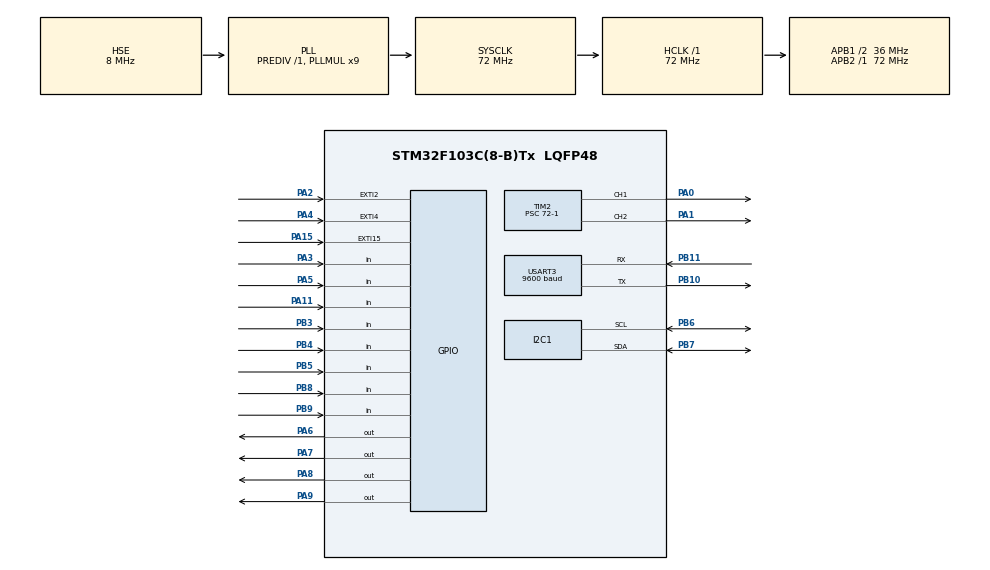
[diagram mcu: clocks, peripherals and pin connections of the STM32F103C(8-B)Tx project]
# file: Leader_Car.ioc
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Mcu.Family=STM32F1
Mcu.Name=STM32F103C(8-B)Tx
Mcu.Package=LQFP48
NVIC.EXTI15_10_IRQn=true\:0\:0\:true\:false\:true\:true\:true\:true
NVIC.EXTI2_IRQn=true\:0\:0\:false\:false\:true\:true\:true\:true
NVIC.EXTI4_IRQn=true\:0\:0\:false\:false\:true\:true\:true\:true
NVIC.PriorityGroup=NVIC_PRIORITYGROUP_4
NVIC.TIM2_IRQn=true\:0\:0\:false\:false\:true\:true\:true\:true
NVIC.TIM3_IRQn=true\:0\:0\:false\:false\:true\:true\:true\:true
NVIC.USART3_IRQn=true\:0\:0\:false\:false\:true\:true\:true\:true
PA0-WKUP.Signal=S_TIM2_CH1_ETR
PA1.Signal=S_TIM2_CH2
PA11.GPIO_PuPd=GPIO_PULLUP
PA11.Signal=GPIO_Input
PA13.Mode=Serial_Wire
PA13.Signal=SYS_JTMS-SWDIO
PA14.Mode=Serial_Wire
PA14.Signal=SYS_JTCK-SWCLK
PA15.GPIO_ModeDefaultEXTI=GPIO_MODE_IT_RISING
PA15.GPIO_PuPd=GPIO_PULLUP
PA15.Signal=GPXTI15
PA2.GPIO_ModeDefaultEXTI=GPIO_MODE_IT_FALLING
PA2.GPIO_PuPd=GPIO_PULLUP
PA2.Signal=GPXTI2
PA3.GPIO_PuPd=GPIO_PULLUP
PA3.Signal=GPIO_Input
PA4.GPIO_ModeDefaultEXTI=GPIO_MODE_IT_FALLING
PA4.GPIO_PuPd=GPIO_PULLUP
PA4.Signal=GPXTI4
PA5.GPIO_PuPd=GPIO_PULLUP
PA5.Signal=GPIO_Input
PA6.Signal=GPIO_Output
PA7.Signal=GPIO_Output
PA8.Signal=GPIO_Output
PA9.Signal=GPIO_Output
PB10.Mode=Asynchronous
PB10.Signal=USART3_TX
PB11.Mode=Asynchronous
PB11.Signal=USART3_RX
PB3.GPIO_PuPd=GPIO_PULLUP
PB3.Signal=GPIO_Input
PB4.GPIO_PuPd=GPIO_PULLUP
PB4.Signal=GPIO_Input
PB5.GPIO_PuPd=GPIO_PULLUP
PB5.Signal=GPIO_Input
PB6.Mode=I2C
PB6.Signal=I2C1_SCL
PB7.Mode=I2C
PB7.Signal=I2C1_SDA
PB8.GPIO_PuPd=GPIO_PULLUP
PB8.Signal=GPIO_Input
PB9.GPIO_PuPd=GPIO_PULLUP
PB9.Signal=GPIO_Input
PC14-OSC32_IN.Mode=LSE-External-Oscillator
PC14-OSC32_IN.Signal=RCC_OSC32_IN
PC15-OSC32_OUT.Mode=LSE-External-Oscillator
PC15-OSC32_OUT.Signal=RCC_OSC32_OUT
PD0-OSC_IN.Mode=HSE-External-Oscillator
PD0-OSC_IN.Signal=RCC_OSC_IN
PD1-OSC_OUT.Mode=HSE-External-Oscillator
PD1-OSC_OUT.Signal=RCC_OSC_OUT
ProjectManager.HeapSize=0x200
ProjectManager.StackSize=0x400
ProjectManager.TargetToolchain=MDK-ARM V5.32
RCC.AHBFreq_Value=72000000
RCC.APB1CLKDivider=RCC_HCLK_DIV2
RCC.APB1Freq_Value=36000000
RCC.APB1TimFreq_Value=72000000
RCC.APB2Freq_Value=72000000
RCC.APB2TimFreq_Value=72000000
RCC.HCLKFreq_Value=72000000
RCC.PLLMUL=RCC_PLL_MUL9
RCC.PLLSourceVirtual=RCC_PLLSOURCE_HSE
RCC.SYSCLKFreq_VALUE=72000000
RCC.SYSCLKSource=RCC_SYSCLKSOURCE_PLLCLK
RCC.USBFreq_Value=72000000
SH.S_TIM2_CH1_ETR.0=TIM2_CH1,PWM Generation1 CH1
SH.S_TIM2_CH2.0=TIM2_CH2,PWM Generation2 CH2
TIM2.AutoReloadPreload=TIM_AUTORELOAD_PRELOAD_ENABLE
TIM2.Channel-PWM\ Generation1\ CH1=TIM_CHANNEL_1
TIM2.Channel-PWM\ Generation2\ CH2=TIM_CHANNEL_2
TIM2.Period=20000-1
TIM2.Prescaler=72-1
TIM3.AutoReloadPreload=TIM_AUTORELOAD_PRELOAD_ENABLE
TIM3.Period=100-1
TIM3.Prescaler=7200-1
USART3.BaudRate=9600
USART3.VirtualMode=VM_ASYNC
VP_TIM2_VS_ClockSourceINT.Mode=Internal
VP_TIM3_VS_ClockSourceINT.Mode=Internal
board=custom

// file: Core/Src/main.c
/* USER CODE BEGIN Header */
/**
  ******************************************************************************
  * @file           : main.c
  * @brief          : Main program body
  ******************************************************************************
  * @attention
  *
  * Copyright (c) 2026 STMicroelectronics.
  * All rights reserved.
  *
  * This software is licensed under terms that can be found in the LICENSE file
  * in the root directory of this software component.
  * If no LICENSE file comes with this software, it is provided AS-IS.
  *
  ******************************************************************************
  */
/* USER CODE END Header */
#include "main.h"
#include "i2c.h"
#include "tim.h"
#include "usart.h"
#include "gpio.h"

/* USER CODE BEGIN Includes */
#include "motor.h"
#include "PID.h"
#include "OLED.h"
#include "stdio.h"
#include "usart3_debug.h"
#include <string.h>
#include <stdio.h>
#include "tcrt5000.h"
#include "MPU6050.h"
#include <math.h>
#include "filter.h"
/* USER CODE END Includes */

/* USER CODE BEGIN PTD */
void HAL_GPIO_EXTI_Callback(uint16_t GPIO_Pin);
/* USER CODE END PTD */

/* USER CODE BEGIN PD */

#define MG310_Min 0
#define MG310_Max 50000
#define Max_Duty 300 //  duty/Max_Duty = 占空比

/* USER CODE END PD */

/* USER CODE BEGIN PV */

uint32_t last_print = 0;
uint32_t last_wave_send = 0;
volatile uint8_t send_flag = 0;
static uint8_t div = 0;

uint8_t MPU6050_FLAG = 0;

/* USER CODE END PV */

void SystemClock_Config(void);

int main(void)
{

  /* MCU Configuration--------------------------------------------------------*/

  /* Reset of all peripherals, Initializes the Flash interface and the Systick. */
  HAL_Init();

  /* Configure the system clock */
  SystemClock_Config();

  /* Initialize all configured peripherals */
  MX_GPIO_Init();
  MX_TIM2_Init();
  MX_TIM3_Init();
  MX_USART3_UART_Init();
  MX_I2C1_Init();
  /* USER CODE BEGIN 2 */
	//电机启动
	HAL_TIM_PWM_Start(&htim2, TIM_CHANNEL_1);
	HAL_TIM_PWM_Start(&htim2, TIM_CHANNEL_2);
	//定时器启动，编码器测速
	HAL_TIM_Base_Start_IT(&htim3);

	PID_Init(&MotorA, DELTA_PID, 50.0f, 30.0f, 0.0f);
	PID_Init(&MotorB, DELTA_PID, 50.0f, 30.0f, 0.0f);
	PID_Init(&angle, POSITION_PID, 2.0f, 0.0f, 1.0f);
	OLED_Init();

	desired_angle = 10.0f;	//设定角度

  /* USER CODE END 2 */

  /* Infinite loop */
  /* USER CODE BEGIN WHILE */

  while (1)
  {
//	  TCRT_Init();//寻迹

	  if(Left_Turn_Flag == 0 && Right_Turn_Flag == 0)
	  {
		TCRT_Init();//寻迹
	  }
	  else
	  {
		MPU6050_Init();
		angle_count();
		HAL_Delay(1000);
		Left_Turn_Flag = 0;
		Right_Turn_Flag = 0;
	  }

	printf("1");

	 if(send_flag)
    {
        send_flag = 0;
//        datavision_send();

    }

	if(MPU6050_FLAG)
	{

	}

	HAL_Delay(10);
    /* USER CODE END WHILE */

  }
}

void SystemClock_Config(void)
{
  RCC_OscInitTypeDef RCC_OscInitStruct = {0};
  RCC_ClkInitTypeDef RCC_ClkInitStruct = {0};

  /** Initializes the RCC Oscillators according to the specified parameters
  * in the RCC_OscInitTypeDef structure.
  */
  RCC_OscInitStruct.OscillatorType = RCC_OSCILLATORTYPE_HSE;
  RCC_OscInitStruct.HSEState = RCC_HSE_ON;
  RCC_OscInitStruct.HSEPredivValue = RCC_HSE_PREDIV_DIV1;
  RCC_OscInitStruct.HSIState = RCC_HSI_ON;
  RCC_OscInitStruct.PLL.PLLState = RCC_PLL_ON;
  RCC_OscInitStruct.PLL.PLLSource = RCC_PLLSOURCE_HSE;
  RCC_OscInitStruct.PLL.PLLMUL = RCC_PLL_MUL9;
  if (HAL_RCC_OscConfig(&RCC_OscInitStruct) != HAL_OK)
  {
    Error_Handler();
  }

  /** Initializes the CPU, AHB and APB buses clocks
  */
  RCC_ClkInitStruct.ClockType = RCC_CLOCKTYPE_HCLK|RCC_CLOCKTYPE_SYSCLK
                              |RCC_CLOCKTYPE_PCLK1|RCC_CLOCKTYPE_PCLK2;
  RCC_ClkInitStruct.SYSCLKSource = RCC_SYSCLKSOURCE_PLLCLK;
  RCC_ClkInitStruct.AHBCLKDivider = RCC_SYSCLK_DIV1;
  RCC_ClkInitStruct.APB1CLKDivider = RCC_HCLK_DIV2;
  RCC_ClkInitStruct.APB2CLKDivider = RCC_HCLK_DIV1;

  if (HAL_RCC_ClockConfig(&RCC_ClkInitStruct, FLASH_LATENCY_2) != HAL_OK)
  {
    Error_Handler();
  }
}

/* USER CODE BEGIN 4 */
//编码器计数
void HAL_GPIO_EXTI_Callback(uint16_t GPIO_Pin)
{
    // 电机 A：A 相中断，B 相判方向
    if (GPIO_Pin == GPIO_PIN_2)
    {
        if (HAL_GPIO_ReadPin(GPIOA, GPIO_PIN_3) == GPIO_PIN_SET)
            Encoder_CountA--;
        else
            Encoder_CountA++;
    }

    // 电机 B：A 相中断，B 相判方向
    else if (GPIO_Pin == GPIO_PIN_4)
    {
        if (HAL_GPIO_ReadPin(GPIOA, GPIO_PIN_5) == GPIO_PIN_SET)
            Encoder_CountB++;
        else
            Encoder_CountB--;
    }
	else if (GPIO_Pin == GPIO_PIN_15)//MPU6050
    {
        MPU6050_FLAG = 1;

    }
}

//编码器测速,TIM3定时中断
void HAL_TIM_PeriodElapsedCallback(TIM_HandleTypeDef *htim)
{
	if(htim -> Instance == TIM3)
	{
//		SpeedA_Now = Encoder_CountA;
//		SpeedB_Now = Encoder_CountB;
//		Encoder_CountA = 0;
//		Encoder_CountB = 0;
		PID_Control();
			if (++div >= 5)   // 10ms × 5 = 50ms
       {
        div = 0;
        send_flag = 1;
       }
	}

}

/* USER CODE END 4 */

void Error_Handler(void)
{
  __disable_irq();
  while (1)
  {
  }
}
